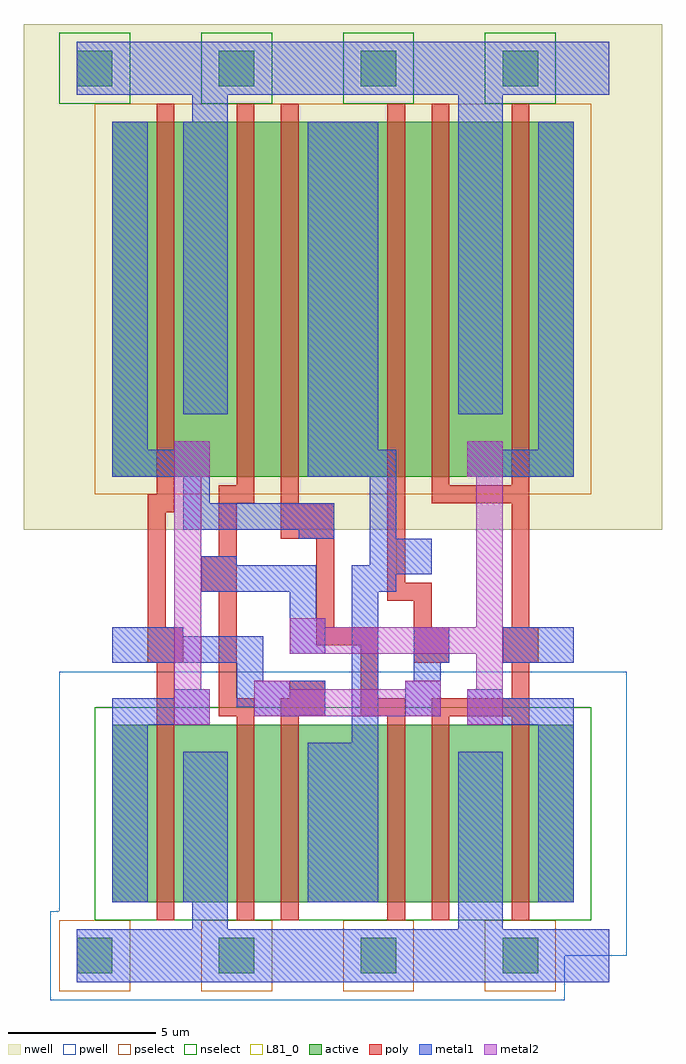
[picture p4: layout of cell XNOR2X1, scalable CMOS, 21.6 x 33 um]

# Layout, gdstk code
import gdstk
lib = gdstk.Library(unit=1e-6, precision=1e-09)
def R(c, l, rs):  # rectangles x0, y0, x1, y1
    for r in rs: c.add(gdstk.rectangle(r[:2], r[2:], *l))
def A(c, l, x, y, w, h, nx, ny, dx, dy):  # array of equal rectangles
    R(c, l, [(x+i*dx, y+j*dy, x+i*dx+w, y+j*dy+h) for i in range(nx) for j in range(ny)])
pwell = (41, 0)
nwell = (42, 0)
active = (43, 0)
pselect = (44, 0)
nselect = (45, 0)
poly = (46, 0)
metal1 = (49, 0)
metal2 = (51, 0)
L81_0 = (81, 0)

xnor2x1 = lib.new_cell('XNOR2X1')
R(xnor2x1, pwell, [(-1.5,-1.5,15.9,0), (-1.5,0,18,1.5), (-1.2,1.5,18,9.6)])
R(xnor2x1, nwell, [(-2.4,14.4,19.2,31.5)])
A(xnor2x1, active, -0.6, -0.6, 1.2, 1.2, 4, 2, 4.8, 30)
R(xnor2x1, active, [(0.6,1.8,16.2,7.8), (0.6,16.2,16.2,28.2)])
A(xnor2x1, pselect, -1.2, -1.2, 2.4, 2.4, 4, 1, 4.8, 0)
R(xnor2x1, pselect, [(0,15.6,16.8,28.8)])
A(xnor2x1, nselect, -1.2, 28.8, 2.4, 2.4, 4, 1, 4.8, 0)
R(xnor2x1, nselect, [(0,1.2,16.8,8.4)])
R(xnor2x1, poly, [(2.1,1.2,2.7,9.9), (4.8,1.2,5.4,8.1), (6.3,1.2,6.9,8.1), (9.9,1.2,10.5,8.1), (11.4,1.2,12,8.1), (14.1,1.2,14.7,8.1), (4.2,8.1,5.4,8.7), (6.3,8.1,7.8,8.7), (9,8.1,10.5,8.7), (11.4,8.1,14.7,8.7), (4.2,8.7,4.8,12.3), (6.6,8.7,7.8,9.3), (9,8.7,9.6,10.5), (14.1,8.7,14.7,9.9), (1.8,9.9,3,11.1), (10.8,9.9,12,11.1), (13.8,9.9,15,11.1), (7.5,10.5,9.6,11.1), (1.8,11.1,2.4,15), (7.5,11.1,8.1,14.1), (10.8,11.1,11.4,12), (14.1,11.1,14.7,15.3), (9.9,12,11.4,12.6), (3.6,12.3,4.8,13.5), (9.9,12.6,10.5,28.8), (4.2,13.5,4.8,15.3), (6.3,14.1,8.1,15.3), (1.8,15,2.7,15.6), (4.2,15.3,5.4,15.9), (6.3,15.3,6.9,28.8), (11.4,15.3,14.7,15.9), (2.1,15.6,2.7,28.8), (4.8,15.9,5.4,28.8), (11.4,15.9,12,28.8), (14.1,15.9,14.7,28.8)])
R(xnor2x1, metal1, [(-0.6,-0.9,17.4,0.9), (3.3,0.9,4.5,1.8), (12.3,0.9,13.8,6.9), (0.6,1.8,1.8,7.8), (3,1.8,4.5,6.9), (7.2,1.8,9.6,7.2), (15,1.8,16.2,7.8), (8.7,7.2,9.6,12.3), (0.6,7.8,3.9,8.7), (12.6,7.8,16.2,8.7), (5.4,8.1,7.8,8.4), (10.5,8.1,11.7,9.3), (4.8,8.4,7.8,9.3), (2.7,8.7,3.9,9), (12.6,8.7,13.8,9), (4.8,9.3,5.7,9.9), (10.8,9.3,11.7,9.9), (0.6,9.9,5.7,10.8), (10.8,9.9,12,11.1), (13.8,9.9,16.2,11.1), (6.6,10.2,7.8,11.4), (0.6,10.8,3,11.1), (6.6,11.4,7.5,12.3), (3.6,12.3,7.5,13.2), (8.7,12.3,10.2,12.9), (8.7,12.9,11.4,13.2), (3.6,13.2,4.8,13.5), (9.3,13.2,11.4,14.1), (6.9,14.1,8.1,14.4), (9.3,14.1,10.2,16.2), (3,14.4,8.1,15.3), (3,15.3,3.9,16.2), (0.6,16.2,3.9,17.1), (7.2,16.2,10.2,17.1), (12.6,16.2,16.2,17.1), (0.6,17.1,1.8,28.2), (2.7,17.1,3.9,17.4), (7.2,17.1,9.6,28.2), (12.6,17.1,13.8,17.4), (15,17.1,16.2,28.2), (3,18.3,4.5,28.2), (12.3,18.3,13.8,29.1), (3.3,28.2,4.5,29.1), (-0.6,29.1,17.4,30.9)])
R(xnor2x1, metal2, [(2.7,7.8,3.9,9), (12.6,7.8,13.8,9), (5.4,8.1,11.7,9), (2.7,9,3.6,16.2), (5.4,9,6.6,9.3), (10.5,9,11.7,9.3), (12.9,9,13.8,10.2), (6.6,10.2,13.8,11.1), (6.6,11.1,7.8,11.4), (12.9,11.1,13.8,16.2), (2.7,16.2,3.9,17.4), (12.6,16.2,13.8,17.4)])
R(xnor2x1, L81_0, [(0.6,9.9,1.8,11.1), (15,9.9,16.2,11.1), (10.2,12.9,11.4,14.1)])

lib.write_gds('XNOR2X1.gds')
